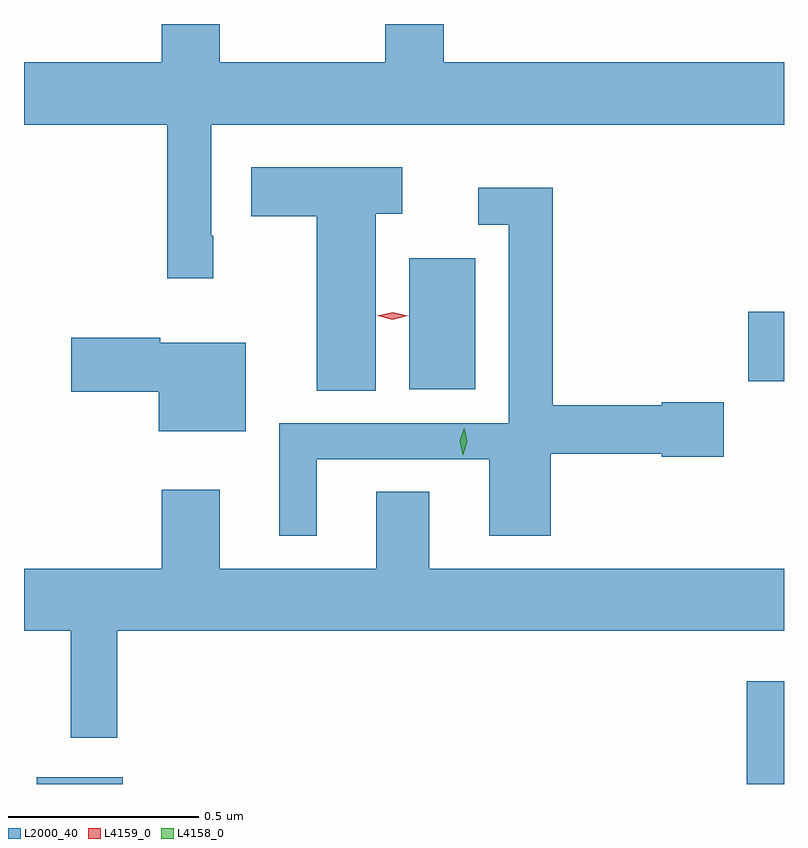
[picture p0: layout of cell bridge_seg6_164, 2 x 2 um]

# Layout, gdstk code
import gdstk
lib = gdstk.Library(unit=1e-6, precision=1e-09)
def R(c, l, rs):  # rectangles x0, y0, x1, y1
    for r in rs: c.add(gdstk.rectangle(r[:2], r[2:], *l))
def P(c, l, *ps):  # polygons
    for p in ps: c.add(gdstk.Polygon(p, *l))
L2000_40 = (2000, 40)
L4158_0 = (4158, 0)
L4159_0 = (4159, 0)

bridge_seg6_164 = lib.new_cell('bridge_seg6_164')
R(bridge_seg6_164, L2000_40, [(604.373,946.933,604.6,946.951), (606.242,946.933,606.34,947.203), (605.354,947.972,605.527,948.316), (606.246,947.993,606.34,948.176)])
P(bridge_seg6_164, L2000_40, [(604.838,948.376),(604.833,948.376),(604.833,948.668),(606.34,948.668),(606.34,948.832),(605.444,948.832),(605.444,948.933),(605.291,948.933),(605.291,948.832),(604.855,948.832),(604.855,948.933),(604.703,948.933),(604.703,948.832),(604.34,948.832),(604.34,948.668),(604.717,948.668),(604.717,948.264),(604.838,948.264)],
  [(605.266,948.434),(605.335,948.434),(605.335,948.556),(604.938,948.556),(604.938,948.427),(605.111,948.427),(605.111,947.968),(605.266,947.968)],
  [(605.11,947.787),(605.564,947.787),(605.564,947.586),(605.726,947.586),(605.726,947.802),(606.018,947.802),(606.018,947.794),(606.181,947.794),(606.181,947.938),(606.018,947.938),(606.018,947.93),(605.732,947.93),(605.732,948.502),(605.535,948.502),(605.535,948.405),(605.616,948.405),(605.616,947.883),(605.012,947.883),(605.012,947.586),(605.11,947.586)],
  [(604.924,948.094),(604.698,948.094),(604.698,948.107),(604.464,948.107),(604.464,947.965),(604.694,947.965),(604.694,947.861),(604.924,947.861)],
  [(604.585,947.336),(606.34,947.336),(606.34,947.5),(605.407,947.5),(605.407,947.702),(605.267,947.702),(605.267,947.5),(604.855,947.5),(604.855,947.707),(604.703,947.707),(604.703,947.5),(604.34,947.5),(604.34,947.336),(604.463,947.336),(604.463,947.055),(604.585,947.055)])
P(bridge_seg6_164, L4158_0, [(605.495,947.799),(605.495,947.799),(605.487,947.836),(605.498,947.871),(605.498,947.871),(605.499,947.871),(605.507,947.835),(605.496,947.799)])
P(bridge_seg6_164, L4159_0, [(605.31,948.155),(605.27,948.165),(605.27,948.165),(605.27,948.165),(605.31,948.175),(605.35,948.165),(605.351,948.165),(605.35,948.165)])

lib.write_gds('bridge_seg6_164.gds')
